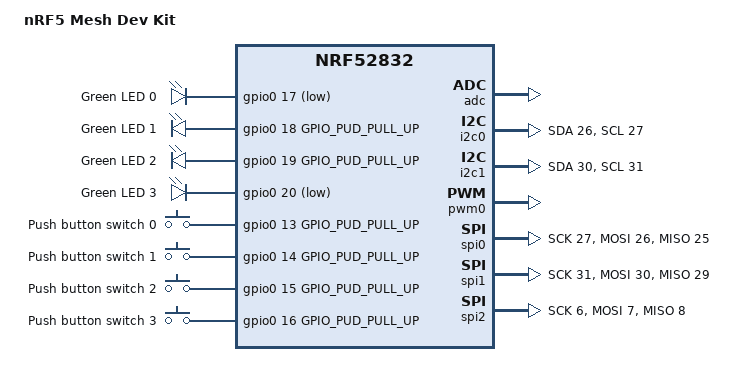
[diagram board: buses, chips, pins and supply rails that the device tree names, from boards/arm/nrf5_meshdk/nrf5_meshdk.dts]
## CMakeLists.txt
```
# SPDX-License-Identifier: Apache-2.0

cmake_minimum_required(VERSION 3.13.1)

set(BOARD_ROOT .)

include($ENV{ZEPHYR_BASE}/cmake/app/boilerplate.cmake NO_POLICY_SCOPE)
project(peripheral)

target_sources(app PRIVATE
  src/main.c
  src/ble.c
  src/gatt/hrs.c
  src/gatt/bas.c
  src/gatt/cts.c
)

target_sources(app PRIVATE src/main.c)
```

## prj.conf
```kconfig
CONFIG_STDOUT_CONSOLE=y
# Incresed stack due to settings API usage
CONFIG_SYSTEM_WORKQUEUE_STACK_SIZE=2048

CONFIG_BT=y
CONFIG_BT_DEBUG_LOG=y
CONFIG_BT_SMP=y
CONFIG_BT_SIGNING=y
CONFIG_BT_PERIPHERAL=y
CONFIG_BT_GATT_DIS=y
CONFIG_BT_ATT_PREPARE_COUNT=5
CONFIG_BT_PRIVACY=y
CONFIG_BT_DEVICE_NAME="Zephyr Peripheral Sample Long Name"
CONFIG_BT_DEVICE_APPEARANCE=833
CONFIG_BT_DEVICE_NAME_DYNAMIC=y
CONFIG_BT_DEVICE_NAME_MAX=65

CONFIG_BT_SETTINGS=y
CONFIG_FLASH=y
CONFIG_FLASH_PAGE_LAYOUT=y
CONFIG_FLASH_MAP=y
CONFIG_FCB=y
CONFIG_SETTINGS=y
CONFIG_SETTINGS_FCB=y

CONFIG_I2C=y
CONFIG_SENSOR=y
CONFIG_LIS2DH=y
CONFIG_LIS2DH_TRIGGER=y
CONFIG_LIS2DH_ODR_4=y   # 50Hz
CONFIG_SENSOR_LOG_LEVEL_INF=y
```

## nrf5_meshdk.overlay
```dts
/*
 * Copyright (c) 2019 Linaro Limited
 *
 * SPDX-License-Identifier: Apache-2.0
 */

&arduino_i2c {

	lis2dh@18 {
		compatible = "st,lis2dh";
		reg = <0x18>;
		label = "LIS2DH";
		irq-gpios = <&gpio0 2 GPIO_INT_ACTIVE_HIGH>;
	};
};
```

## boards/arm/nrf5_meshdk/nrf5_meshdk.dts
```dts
/*
 * Copyright (c) 2019 Aaron Tsui <aaron.tsui@outlook.com>
 *
 * SPDX-License-Identifier: Apache-2.0
 */

/dts-v1/;
#include <nordic/nrf52832_qfaa.dtsi>

/ {
	model = "nRF5 Mesh Dev Kit";
	compatible = "nordic,pca10040-dk", "nordic,nrf52832-qfaa",
		     "nordic,nrf52832";

	chosen {
		zephyr,sram = &sram0;
		zephyr,flash = &flash0;
		zephyr,code-partition = &slot0_partition;
	};

	leds {
		compatible = "gpio-leds";
		led0: led_0 {
			gpios = <&gpio0 17 GPIO_INT_ACTIVE_LOW>;
			label = "Green LED 0";
		};
		led1: led_1 {
			gpios = <&gpio0 18 GPIO_PUD_PULL_UP>;
			label = "Green LED 1";
		};
		led2: led_2 {
			gpios = <&gpio0 19 GPIO_PUD_PULL_UP>;
			label = "Green LED 2";
		};
		led3: led_3 {
			gpios = <&gpio0 20 GPIO_INT_ACTIVE_LOW>;
			label = "Green LED 3";
		};
	};

	buttons {
		compatible = "gpio-keys";
		button0: button_0 {
			gpios = <&gpio0 13 GPIO_PUD_PULL_UP>;
			label = "Push button switch 0";
		};
		button1: button_1 {
			gpios = <&gpio0 14 GPIO_PUD_PULL_UP>;
			label = "Push button switch 1";
		};
		button2: button_2 {
			gpios = <&gpio0 15 GPIO_PUD_PULL_UP>;
			label = "Push button switch 2";
		};
		button3: button_3 {
			gpios = <&gpio0 16 GPIO_PUD_PULL_UP>;
			label = "Push button switch 3";
		};
	};

	/* These aliases are provided for compatibility with samples */
	aliases {
		led0 = &led0;
		led1 = &led1;
		led2 = &led2;
		led3 = &led3;
		sw0 = &button0;
		sw1 = &button1;
		sw2 = &button2;
		sw3 = &button3;
	};
};

&adc {
	status = "okay";
};

&gpiote {
	status = "okay";
};

&gpio0 {
	status = "okay";
};

arduino_i2c: &i2c0 {
	status = "okay";
	sda-pin = <26>;
	scl-pin = <27>;
};

&i2c1 {
	/* Cannot be used together with spi1. */
	/* status = "okay"; */
	sda-pin = <30>;
	scl-pin = <31>;
};

&pwm0 {
	status = "okay";
	ch0-pin = <17>;
	ch0-inverted;
};

&spi0 {
	/* Cannot be used together with i2c0. */
	/* status = "okay"; */
	sck-pin = <27>;
	mosi-pin = <26>;
	miso-pin = <25>;
};

arduino_spi: &spi1 {
	status = "okay";
	sck-pin = <31>;
	mosi-pin = <30>;
	miso-pin = <29>;
};

&spi2 {
	status = "okay";
	sck-pin = <6>;
	mosi-pin = <7>;
	miso-pin = <8>;
};

&flash0 {
	/*
	 * For more information, see:
	 * http://docs.zephyrproject.org/latest/guides/dts/index.html#flash-partitions
	 */
	partitions {
		compatible = "fixed-partitions";
		#address-cells = <1>;
		#size-cells = <1>;

		boot_partition: partition@0 {
			label = "mcuboot";
			reg = <0x00000000 0xc000>;
		};
		slot0_partition: partition@c000 {
			label = "image-0";
			reg = <0x0000C000 0x32000>;
		};
		slot1_partition: partition@3e000 {
			label = "image-1";
			reg = <0x0003E000 0x32000>;
		};
		scratch_partition: partition@70000 {
			label = "image-scratch";
			reg = <0x00070000 0xa000>;
		};
		storage_partition: partition@7a000 {
			label = "storage";
			reg = <0x0007a000 0x00006000>;
		};
	};
};
```

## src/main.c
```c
/* main.c - Application main entry point */

/*
 * Copyright (c) 2019 Aaron Tsui aaron.tsui@outlook.com
 *
 * SPDX-License-Identifier: Apache-2.0
 */

#include <zephyr/types.h>
#include <stddef.h>
#include <stdio.h>
#include <string.h>
#include <errno.h>
#include <misc/printk.h>
#include <misc/byteorder.h>
#include <zephyr.h>

#include <settings/settings.h>

#include <device.h>
#include <drivers/sensor.h>
#include <drivers/gpio.h>

#define LED_PORT DT_ALIAS_LED0_GPIOS_CONTROLLER
#define LED	DT_ALIAS_LED0_GPIOS_PIN


struct device *accelerometer;

static s32_t read_sensor(struct device *sensor, enum sensor_channel channel)
{
	struct sensor_value val[3];
	s32_t ret = 0;

	ret = sensor_sample_fetch(sensor);
	if (ret < 0 && ret != -EBADMSG) {
		printk("Sensor sample update error\n");
	}

	ret = sensor_channel_get(sensor, channel, val);
	if (ret < 0) {
		printk("Cannot read sensor channels\n");
	}

	printf("( x y z ) = ( %f  %f  %f )\n", sensor_value_to_double(&val[0]),
					       sensor_value_to_double(&val[1]),
					       sensor_value_to_double(&val[2]));

	return ret;
}

static void lis2dh_handler(struct device *dev,
			   struct sensor_trigger *trig)
{
	read_sensor(accelerometer, SENSOR_CHAN_ACCEL_XYZ);
}

void main(void)
{
	struct device *dev = device_get_binding(LED_PORT);
	gpio_pin_configure(dev, LED, GPIO_DIR_OUT);

	accelerometer = device_get_binding(
						DT_INST_0_ST_LIS2DH_LABEL);

	if (accelerometer == NULL) {
		printk("Could not get %s device\n",
				DT_INST_0_ST_LIS2DH_LABEL);
		return;
	}

	if (IS_ENABLED(CONFIG_LIS2DH_TRIGGER)) {
		struct sensor_trigger trig = {
			.type = SENSOR_TRIG_DATA_READY,
			.chan = SENSOR_CHAN_ALL,
		};
		if (sensor_trigger_set(dev, &trig, lis2dh_handler) < 0) {
			printf("Cannot configure trigger\n");
			return;
		};
	}

	while (!IS_ENABLED(CONFIG_LIS2DH_TRIGGER)) {
		printk("Accelerometer data:\n");
		if (read_sensor(accelerometer, SENSOR_CHAN_ACCEL_XYZ) < 0) {
			printk("Failed to read accelerometer data\n");
		}

		static int cnt = 0;
		/* Set pin to HIGH/LOW every 1 second */
		gpio_pin_write(dev, LED, cnt % 2);
		cnt++;
		k_sleep(2000);
	}
	k_sleep(K_FOREVER);
}
```

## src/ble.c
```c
/* main.c - Application main entry point */

/*
 * Copyright (c) 2019 Aaron Tsui aaron.tsui@outlook.com
 *
 * SPDX-License-Identifier: Apache-2.0
 */

#include <zephyr/types.h>
#include <stddef.h>
#include <stdio.h>
#include <string.h>
#include <errno.h>
#include <misc/printk.h>
#include <misc/byteorder.h>
#include <zephyr.h>

#include <settings/settings.h>

#include <bluetooth/bluetooth.h>
#include <bluetooth/hci.h>
#include <bluetooth/conn.h>
#include <bluetooth/uuid.h>
#include <bluetooth/gatt.h>

#include "gatt/hrs.h"
#include "gatt/bas.h"
#include "gatt/cts.h"

/* Custom Service Variables */
static struct bt_uuid_128 vnd_uuid = BT_UUID_INIT_128(
0xf0, 0xde, 0xbc, 0x9a, 0x78, 0x56, 0x34, 0x12,
0x78, 0x56, 0x34, 0x12, 0x78, 0x56, 0x34, 0x12);

static struct bt_uuid_128 vnd_enc_uuid = BT_UUID_INIT_128(
0xf1, 0xde, 0xbc, 0x9a, 0x78, 0x56, 0x34, 0x12,
0x78, 0x56, 0x34, 0x12, 0x78, 0x56, 0x34, 0x12);

static struct bt_uuid_128 vnd_auth_uuid = BT_UUID_INIT_128(
0xf2, 0xde, 0xbc, 0x9a, 0x78, 0x56, 0x34, 0x12,
0x78, 0x56, 0x34, 0x12, 0x78, 0x56, 0x34, 0x12);

static u8_t vnd_value[] = { 'V', 'e', 'n', 'd', 'o', 'r' };

static ssize_t read_vnd(struct bt_conn *conn, const struct bt_gatt_attr *attr,
		void *buf, u16_t len, u16_t offset)
{
const char *value = attr->user_data;

return bt_gatt_attr_read(conn, attr, buf, len, offset, value,
				strlen(value));
}

static ssize_t write_vnd(struct bt_conn *conn, const struct bt_gatt_attr *attr,
			const void *buf, u16_t len, u16_t offset,
			u8_t flags)
{
u8_t *value = attr->user_data;

if (offset + len > sizeof(vnd_value)) {
	return BT_GATT_ERR(BT_ATT_ERR_INVALID_OFFSET);
}

memcpy(value + offset, buf, len);

return len;
}

static struct bt_gatt_ccc_cfg vnd_ccc_cfg[BT_GATT_CCC_MAX] = {};
static u8_t simulate_vnd;
static u8_t indicating;
static struct bt_gatt_indicate_params ind_params;

static void vnd_ccc_cfg_changed(const struct bt_gatt_attr *attr, u16_t value)
{
simulate_vnd = (value == BT_GATT_CCC_INDICATE) ? 1 : 0;
}

static void indicate_cb(struct bt_conn *conn, const struct bt_gatt_attr *attr,
		u8_t err)
{
printk("Indication %s\n", err != 0U ? "fail" : "success");
indicating = 0U;
}

#define MAX_DATA 74
static u8_t vnd_long_value[] = {
		'V', 'e', 'n', 'd', 'o', 'r', ' ', 'd', 'a', 't', 'a', '1',
		'V', 'e', 'n', 'd', 'o', 'r', ' ', 'd', 'a', 't', 'a', '2',
		'V', 'e', 'n', 'd', 'o', 'r', ' ', 'd', 'a', 't', 'a', '3',
		'V', 'e', 'n', 'd', 'o', 'r', ' ', 'd', 'a', 't', 'a', '4',
		'V', 'e', 'n', 'd', 'o', 'r', ' ', 'd', 'a', 't', 'a', '5',
		'V', 'e', 'n', 'd', 'o', 'r', ' ', 'd', 'a', 't', 'a', '6',
		'.', ' ' };

static ssize_t read_long_vnd(struct bt_conn *conn,
				const struct bt_gatt_attr *attr, void *buf,
				u16_t len, u16_t offset)
{
const char *value = attr->user_data;

return bt_gatt_attr_read(conn, attr, buf, len, offset, value,
				sizeof(vnd_long_value));
}

static ssize_t write_long_vnd(struct bt_conn *conn,
				const struct bt_gatt_attr *attr, const void *buf,
				u16_t len, u16_t offset, u8_t flags)
{
u8_t *value = attr->user_data;

if (flags & BT_GATT_WRITE_FLAG_PREPARE) {
	return 0;
}

if (offset + len > sizeof(vnd_long_value)) {
	return BT_GATT_ERR(BT_ATT_ERR_INVALID_OFFSET);
}

memcpy(value + offset, buf, len);

return len;
}

static const struct bt_uuid_128 vnd_long_uuid = BT_UUID_INIT_128(
0xf3, 0xde, 0xbc, 0x9a, 0x78, 0x56, 0x34, 0x12,
0x78, 0x56, 0x34, 0x12, 0x78, 0x56, 0x34, 0x12);

static struct bt_gatt_cep vnd_long_cep = {
.properties = BT_GATT_CEP_RELIABLE_WRITE,
};

static int signed_value;

static ssize_t read_signed(struct bt_conn *conn, const struct bt_gatt_attr *attr,
			void *buf, u16_t len, u16_t offset)
{
const char *value = attr->user_data;

return bt_gatt_attr_read(conn, attr, buf, len, offset, value,
				sizeof(signed_value));
}

static ssize_t write_signed(struct bt_conn *conn, const struct bt_gatt_attr *attr,
			const void *buf, u16_t len, u16_t offset,
			u8_t flags)
{
u8_t *value = attr->user_data;

if (offset + len > sizeof(signed_value)) {
	return BT_GATT_ERR(BT_ATT_ERR_INVALID_OFFSET);
}

memcpy(value + offset, buf, len);

return len;
}

static const struct bt_uuid_128 vnd_signed_uuid = BT_UUID_INIT_128(
0xf3, 0xde, 0xbc, 0x9a, 0x78, 0x56, 0x34, 0x13,
0x78, 0x56, 0x34, 0x12, 0x78, 0x56, 0x34, 0x13);

static const struct bt_uuid_128 vnd_write_cmd_uuid = BT_UUID_INIT_128(
0xf4, 0xde, 0xbc, 0x9a, 0x78, 0x56, 0x34, 0x12,
0x78, 0x56, 0x34, 0x12, 0x78, 0x56, 0x34, 0x12);

static ssize_t write_without_rsp_vnd(struct bt_conn *conn,
					const struct bt_gatt_attr *attr,
					const void *buf, u16_t len, u16_t offset,
					u8_t flags)
{
u8_t *value = attr->user_data;

/* Write request received. Reject it since this char only accepts
	* Write Commands.
	*/
if (!(flags & BT_GATT_WRITE_FLAG_CMD)) {
	return BT_GATT_ERR(BT_ATT_ERR_WRITE_REQ_REJECTED);
}

if (offset + len > sizeof(vnd_value)) {
	return BT_GATT_ERR(BT_ATT_ERR_INVALID_OFFSET);
}

memcpy(value + offset, buf, len);

return len;
}

/* Vendor Primary Service Declaration */
BT_GATT_SERVICE_DEFINE(vnd_svc,
BT_GATT_PRIMARY_SERVICE(&vnd_uuid),
BT_GATT_CHARACTERISTIC(&vnd_enc_uuid.uuid,
				BT_GATT_CHRC_READ | BT_GATT_CHRC_WRITE |
				BT_GATT_CHRC_INDICATE,
				BT_GATT_PERM_READ_ENCRYPT |
				BT_GATT_PERM_WRITE_ENCRYPT,
				read_vnd, write_vnd, vnd_value),
BT_GATT_CCC(vnd_ccc_cfg, vnd_ccc_cfg_changed),
BT_GATT_CHARACTERISTIC(&vnd_auth_uuid.uuid,
				BT_GATT_CHRC_READ | BT_GATT_CHRC_WRITE,
				BT_GATT_PERM_READ_AUTHEN |
				BT_GATT_PERM_WRITE_AUTHEN,
				read_vnd, write_vnd, vnd_value),
BT_GATT_CHARACTERISTIC(&vnd_long_uuid.uuid, BT_GATT_CHRC_READ |
				BT_GATT_CHRC_WRITE | BT_GATT_CHRC_EXT_PROP,
				BT_GATT_PERM_READ | BT_GATT_PERM_WRITE |
				BT_GATT_PERM_PREPARE_WRITE,
				read_long_vnd, write_long_vnd, &vnd_long_value),
BT_GATT_CEP(&vnd_long_cep),
BT_GATT_CHARACTERISTIC(&vnd_signed_uuid.uuid, BT_GATT_CHRC_READ |
				BT_GATT_CHRC_WRITE | BT_GATT_CHRC_AUTH,
				BT_GATT_PERM_READ | BT_GATT_PERM_WRITE,
				read_signed, write_signed, &signed_value),
BT_GATT_CHARACTERISTIC(&vnd_write_cmd_uuid.uuid,
				BT_GATT_CHRC_WRITE_WITHOUT_RESP,
				BT_GATT_PERM_WRITE, NULL,
				write_without_rsp_vnd, &vnd_value),
);

static const struct bt_data ad[] = {
BT_DATA_BYTES(BT_DATA_FLAGS, (BT_LE_AD_GENERAL | BT_LE_AD_NO_BREDR)),
BT_DATA_BYTES(BT_DATA_UUID16_ALL,
			0x0d, 0x18, 0x0f, 0x18, 0x05, 0x18),
BT_DATA_BYTES(BT_DATA_UUID128_ALL,
			0xf0, 0xde, 0xbc, 0x9a, 0x78, 0x56, 0x34, 0x12,
			0x78, 0x56, 0x34, 0x12, 0x78, 0x56, 0x34, 0x12),
};

static void connected(struct bt_conn *conn, u8_t err)
{
if (err) {
	printk("Connection failed (err %u)\n", err);
} else {
	printk("Connected\n");
}
}

static void disconnected(struct bt_conn *conn, u8_t reason)
{
printk("Disconnected (reason %u)\n", reason);
}

static struct bt_conn_cb conn_callbacks = {
.connected = connected,
.disconnected = disconnected,
};

static void bt_ready(int err)
{
if (err) {
	printk("Bluetooth init failed (err %d)\n", err);
	return;
}

printk("Bluetooth initialized\n");

hrs_init(0x01);
cts_init();

if (IS_ENABLED(CONFIG_SETTINGS)) {
	settings_load();
}

err = bt_le_adv_start(BT_LE_ADV_CONN_NAME, ad, ARRAY_SIZE(ad), NULL, 0);
if (err) {
	printk("Advertising failed to start (err %d)\n", err);
	return;
}

printk("Advertising successfully started\n");
}

static void auth_passkey_display(struct bt_conn *conn, unsigned int passkey)
{
char addr[BT_ADDR_LE_STR_LEN];

bt_addr_le_to_str(bt_conn_get_dst(conn), addr, sizeof(addr));

printk("Passkey for %s: %06u\n", addr, passkey);
}

static void auth_cancel(struct bt_conn *conn)
{
char addr[BT_ADDR_LE_STR_LEN];

bt_addr_le_to_str(bt_conn_get_dst(conn), addr, sizeof(addr));

printk("Pairing cancelled: %s\n", addr);
}

static struct bt_conn_auth_cb auth_cb_display = {
.passkey_display = auth_passkey_display,
.passkey_entry = NULL,
.cancel = auth_cancel,
};

int ble_init(void){
int err = bt_enable(bt_ready);
if (err) {
	printk("Bluetooth init failed (err %d)\n", err);
	return;
}

bt_conn_cb_register(&conn_callbacks);
bt_conn_auth_cb_register(&auth_cb_display);
}

void ble_process(void){
/* Current Time Service updates only when time is changed */
cts_notify();

/* Heartrate measurements simulation */
hrs_notify();

/* Battery level simulation */
bas_notify();

/* Vendor indication simulation */
if (simulate_vnd) {

	ind_params.attr = &vnd_svc.attrs[2];
	ind_params.func = indicate_cb;
	ind_params.data = &indicating;
	ind_params.len = sizeof(indicating);

	if (bt_gatt_indicate(NULL, &ind_params) == 0) {
		indicating = 1U;
	}
}
}
```
